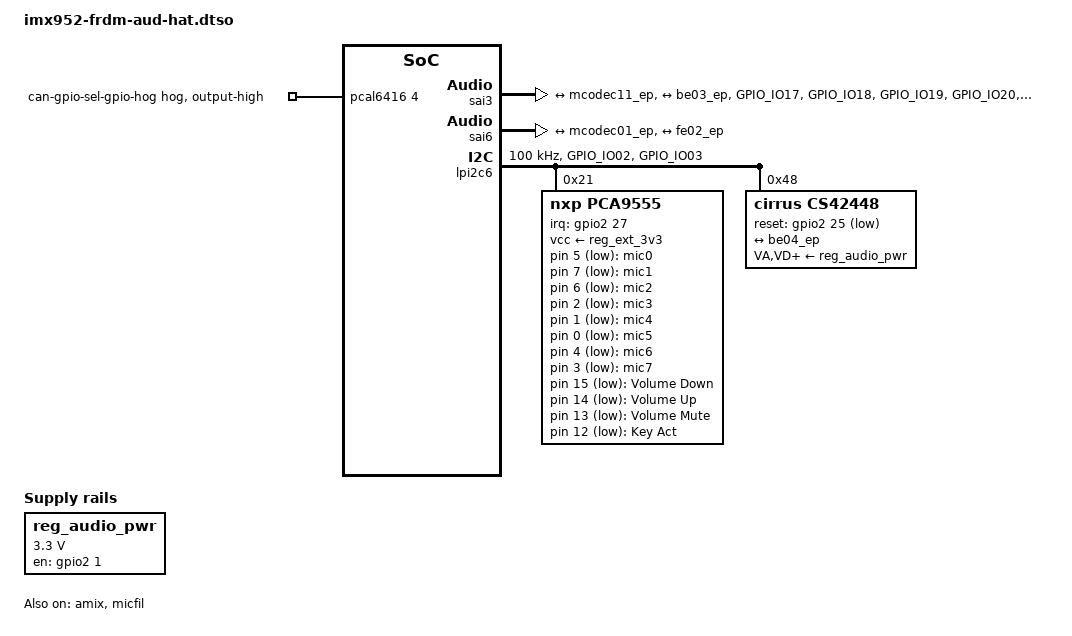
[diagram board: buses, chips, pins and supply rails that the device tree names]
// SPDX-License-Identifier: (GPL-2.0+ OR MIT)
/*
 * Copyright 2026 NXP
 */

/dts-v1/;
/plugin/;

#include <dt-bindings/input/input.h>
#include <dt-bindings/gpio/gpio.h>
#include <dt-bindings/interrupt-controller/irq.h>
#include "imx952-clock.h"
#include "imx952-pinfunc.h"

&{/} {
	sound-mqs {
		status = "disabled";
	};
	mic_leds {
		compatible = "gpio-leds";
		mic0 {
			label = "mic0";
			gpios = <&pca9555 5 GPIO_ACTIVE_LOW>;
			default-state = "off";
		};
		mic1 {
			label = "mic1";
			gpios = <&pca9555 7 GPIO_ACTIVE_LOW>;
			default-state = "off";
		};
		mic2 {
			label = "mic2";
			gpios = <&pca9555 6 GPIO_ACTIVE_LOW>;
			default-state = "off";
		};
		mic3 {
			label = "mic3";
			gpios = <&pca9555 2 GPIO_ACTIVE_LOW>;
			default-state = "off";
		};
		mic4 {
			label = "mic4";
			gpios = <&pca9555 1 GPIO_ACTIVE_LOW>;
			default-state = "off";
		};
		mic5 {
			label = "mic5";
			gpios = <&pca9555 0 GPIO_ACTIVE_LOW>;
			default-state = "off";
		};
		mic6 {
			label = "mic6";
			gpios = <&pca9555 4 GPIO_ACTIVE_LOW>;
			default-state = "off";
		};
		mic7 {
			label = "mic7";
			gpios = <&pca9555 3 GPIO_ACTIVE_LOW>;
			default-state = "off";
		};
	};

	sw_keys {
		compatible = "gpio-keys";

		sw4: volume_down {
			label = "Volume Down";
			gpios = <&pca9555 15 GPIO_ACTIVE_LOW>;
			linux,code = <KEY_VOLUMEDOWN>;
		};

		sw3: volume_up {
			label = "Volume Up";
			gpios = <&pca9555 14 GPIO_ACTIVE_LOW>;
			linux,code = <KEY_VOLUMEUP>;
		};

		sw2: volume_mute {
			label = "Volume Mute";
			gpios = <&pca9555 13 GPIO_ACTIVE_LOW>;
			linux,code = <KEY_MUTE>;
		};

		sw1: key_act {
			label = "Key Act";
			gpios = <&pca9555 12 GPIO_ACTIVE_LOW>;
			linux,code = <KEY_F9>;
		};
	};

	reg_audio_pwr: regulator-audio-pwr {
		compatible = "regulator-fixed";
		pinctrl-names = "default";
		pinctrl-0 = <&pinctrl_audio_pwr>;
		regulator-name = "cs42448-supply";
		regulator-min-microvolt = <3300000>;
		regulator-max-microvolt = <3300000>;
		gpio = <&gpio2 1 GPIO_ACTIVE_HIGH>;
		enable-active-high;
	};

	sound-amix {
		compatible = "audio-graph-card2";
		label = "audmix-cs42448";
		routing = "SAI6 SAI-Playback", "ASRC1 ASRCA-Playback",
			  "SAI3 SAI-Playback", "ASRC2 ASRCA-Playback",
			  "AUDMIX-Playback-0", "SAI6 SAI-Playback",
			  "AUDMIX-Playback-1", "SAI3 SAI-Playback",
			  "Playback", "ASRC1 ASRCA-Playback",
			  "Playback", "ASRC2 ASRCA-Playback",
			  "SAI6 SAI-Capture", "AUDMIX-Capture-0",
			  "SAI3 SAI-Capture", "Capture",
			  "ASRC2 ASRCB-Capture", "SAI3 SAI-Capture";
		links = <&fe00 &fe01 &fe02 &fe03 &be00 &be01 &be02 &be03 &be04>;

		multi {
			#address-cells = <1>;
			#size-cells = <0>;

			ports@0 {
				reg = <0>;
				#address-cells = <1>;
				#size-cells = <0>;
				port@0 {
					reg = <0>;
					mbe0_ep: endpoint {
						remote-endpoint = <&be00_ep>;
					};
				};/* (X) to pair */
				port@1 {
					reg = <1>;
					mcodec01_ep: endpoint {
						remote-endpoint = <&sai6_endpoint0>;
					};
				};/* (A) Multi Element */
				port@2 {
					reg = <2>;
					mcodec02_ep: endpoint {
						remote-endpoint = <&amix_endpoint0>;
					};
				};/* (B) Multi Element */
			};

			ports@1 {
				reg = <1>;
				#address-cells = <1>;
				#size-cells = <0>;
				port@0 {
					reg = <0>;
					mbe1_ep: endpoint {
						remote-endpoint = <&be01_ep>;
					};
				};/* (X) to pair */
				port@1 {
					reg = <1>;
					mcodec11_ep: endpoint {
						remote-endpoint = <&sai3_endpoint0>;
					};
				};/* (A) Multi Element */
				port@2 {
					reg = <2>;
					mcodec12_ep: endpoint {
						remote-endpoint = <&amix_endpoint1>;
					};
				};/* (B) Multi Element */
			};
		};

		dpcm {
			#address-cells = <1>;
			#size-cells = <0>;

			ports@0 {
				reg = <0>;
				#address-cells = <1>;
				#size-cells = <0>;

				fe00: port@0 {
					reg = <0>;
					fe00_ep: endpoint {
						remote-endpoint = <&asrc1_endpoint0>;
					};
				};
				fe01: port@1 {
					reg = <1>;
					fe01_ep: endpoint {
						remote-endpoint = <&asrc2_endpoint0>;
					};
				};
				fe02: port@2 {
					reg = <2>;
					fe02_ep: endpoint {
						remote-endpoint = <&sai6_endpoint1>;
					};
				};
				fe03: port@3 {
					reg = <3>;
					fe03_ep: endpoint {
						remote-endpoint = <&asrc2_endpoint1>;
					};
				};
			};

			ports@1 {
				reg = <1>;
				#address-cells = <1>;
				#size-cells = <0>;
				convert-rate = <48000>;
				convert-sample-format = "s16_le";

				be00: port@0 {
					reg = <0>;
					be00_ep: endpoint {
						remote-endpoint = <&mbe0_ep>;
					};
				};
				be01: port@1 {
					reg = <1>;
					be01_ep: endpoint {
						remote-endpoint = <&mbe1_ep>;
					};
				};
				be02: port@2 {
					reg = <2>;
					be02_ep: endpoint {
						remote-endpoint = <&amix_endpoint2>;
					};
				};
				be03: port@3 {
					reg = <3>;
					be03_ep: endpoint {
						remote-endpoint = <&sai3_endpoint1>;
					};
				};
				be04: port@4 {
					reg = <4>;
					be04_ep: endpoint {
						remote-endpoint = <&codec0_ep>;
					};
				};
			};
		};
	};

	sound-micfil {
		pinctrl-names = "default";
		pinctrl-0 = <&pinctrl_swpdm_mute_irq>;
	};
};

&amix {
	status = "okay";
	ports {
		#address-cells = <1>;
		#size-cells = <0>;

		port@0 {
			reg = <0>;
			playback-only;

			amix_endpoint0: endpoint {
				dai-tdm-slot-num = <8>;
				dai-tdm-slot-width = <32>;
				dai-tdm-slot-width-map = <32 32 8>;
				dai-format = "dsp_a";
				remote-endpoint = <&mcodec02_ep>;
			};
		};

		port@1 {
			reg = <1>;
			playback-only;

			amix_endpoint1: endpoint {
				dai-tdm-slot-num = <8>;
				dai-tdm-slot-width = <32>;
				dai-tdm-slot-width-map = <32 32 8>;
				dai-format = "dsp_a";
				remote-endpoint = <&mcodec12_ep>;
			};
		};

		port@2 {
			reg = <2>;
			capture-only;

			amix_endpoint2: endpoint {
				dai-tdm-slot-num = <8>;
				dai-tdm-slot-width = <32>;
				dai-tdm-slot-width-map = <32 32 8>;
				dai-format = "dsp_a";
				bitclock-master;
				frame-master;
				remote-endpoint = <&be02_ep>;
			};
		};
	};
};

&asrc1 {
	sound-name-prefix = "ASRC1";
	ports {
		#address-cells = <1>;
		#size-cells = <0>;

		port@0 {
			reg = <0>;
			playback-only;
			asrc1_endpoint0: endpoint {
				remote-endpoint = <&fe00_ep>;
			};
		};

		port@1 {
			reg = <1>;
			capture-only;
			asrc1_endpoint1: endpoint {
			};
		};
	};
};

&asrc2 {
	sound-name-prefix = "ASRC2";
	ports {
		#address-cells = <1>;
		#size-cells = <0>;

		port@0 {
			reg = <0>;
			playback-only;
			asrc2_endpoint0: endpoint {
				remote-endpoint = <&fe01_ep>;
			};
		};

		port@1 {
			reg = <1>;
			capture-only;
			asrc2_endpoint1: endpoint {
				remote-endpoint = <&fe03_ep>;
			};
		};
	};
};

&dmic {
	num-channels = <8>;
};

&pcal6416 {
	can-gpio-sel-hog {
		status = "disabled";
	};
	can-gpio-sel-gpio-hog {
		gpios = <4 GPIO_ACTIVE_HIGH>;
		gpio-hog;
		output-high;
	};
};

&sai3 {
	assigned-clocks = <&scmi_clk IMX952_CLK_AUDIOPLL1_VCO>,
			  <&scmi_clk IMX952_CLK_AUDIOPLL2_VCO>,
			  <&scmi_clk IMX952_CLK_AUDIOPLL1>,
			  <&scmi_clk IMX952_CLK_AUDIOPLL2>,
			  <&scmi_clk IMX952_CLK_SAI3>;
	assigned-clock-parents = <0>, <0>, <0>, <0>,
				 <&scmi_clk IMX952_CLK_AUDIOPLL1>;
	assigned-clock-rates = <3932160000>, <3612672000>,
			       <393216000>, <361267200>, <12288000>;
	pinctrl-0 = <&pinctrl_sai3audhat>;
	pinctrl-names = "default";
	fsl,sai-asynchronous;
	fsl,sai-amix-mode = "audmix";
	fsl,sai-mclk-direction-output;
	sound-name-prefix = "SAI3";
	status = "okay";

	ports {
		#address-cells = <1>;
		#size-cells = <0>;

		port@1 {
			reg = <1>;
			playback-only;

			sai3_endpoint0: endpoint {
				dai-tdm-slot-num = <8>;
				dai-tdm-slot-width = <32>;
				dai-tdm-slot-width-map = <32 32 8>;
				dai-format = "dsp_a";
				bitclock-master;
				frame-master;
				remote-endpoint = <&mcodec11_ep>;
			};
		};

		port@2 {
			reg = <2>;
			capture-only;

			sai3_endpoint1: endpoint {
				dai-tdm-slot-num = <8>;
				dai-tdm-slot-width = <32>;
				dai-tdm-slot-width-map = <32 32 8>;
				dai-format = "dsp_a";
				bitclock-master;
				frame-master;
				remote-endpoint = <&be03_ep>;
			};
		};

	};
};

&sai6 {
	assigned-clocks = <&scmi_clk IMX952_CLK_AUDIOPLL1_VCO>,
			  <&scmi_clk IMX952_CLK_AUDIOPLL2_VCO>,
			  <&scmi_clk IMX952_CLK_AUDIOPLL1>,
			  <&scmi_clk IMX952_CLK_AUDIOPLL2>,
			  <&scmi_clk IMX952_CLK_SAI3>;
	assigned-clock-parents = <0>, <0>, <0>, <0>, <&scmi_clk IMX952_CLK_AUDIOPLL1>;
	assigned-clock-rates = <3932160000>, <3612672000>, <393216000>, <361267200>, <12288000>;
	fsl,sai-mclk-direction-output;
	fsl,sai-asynchronous;
	sound-name-prefix = "SAI6";
	status = "okay";

	ports {
		#address-cells = <1>;
		#size-cells = <0>;

		port@1 {
			reg = <1>;
			playback-only;

			sai6_endpoint0: endpoint {
				dai-tdm-slot-num = <8>;
				dai-tdm-slot-width = <32>;
				dai-tdm-slot-width-map = <32 32 8>;
				dai-format = "dsp_a";
				bitclock-master;
				frame-master;
				remote-endpoint = <&mcodec01_ep>;
			};
		};

		port@2 {
			reg = <2>;
			capture-only;

			sai6_endpoint1: endpoint {
				dai-tdm-slot-num = <8>;
				dai-tdm-slot-width = <32>;
				dai-tdm-slot-width-map = <32 32 8>;
				dai-format = "dsp_a";
				remote-endpoint = <&fe02_ep>;
			};
		};
	};
};

&flexcan2 {
	status = "disabled";
};

&tpm3 {
	status = "disabled";
};

&tpm4 {
	status = "disabled";
};

&micfil {
	pinctrl-names = "default";
	pinctrl-0 = <&pinctrl_pdm2>;
	status = "okay";
};

&lpi2c6 {
	#address-cells= <1>;
	#size-cells= <0>;
	clock-frequency = <100000>;
	pinctrl-names = "default";
	pinctrl-0 = <&pinctrl_lpi2c6>;
	status = "okay";

	pca9555: gpio@21 {
		compatible = "nxp,pca9555";
		pinctrl-names = "default";
		pinctrl-0 = <&pinctrl_pushbutton_irq>;
		reg = <0x21>;
		gpio-controller;
		#gpio-cells = <2>;
		interrupt-controller;
		#interrupt-cells = <2>;
		interrupt-parent = <&gpio2>;
		interrupts = <27 IRQ_TYPE_LEVEL_LOW>;
		vcc-supply = <&reg_ext_3v3>;
		status = "okay";
	};

	cs42448: cs42448@48 {
		#sound-dai-cells = <0>;
		compatible = "cirrus,cs42448";
		pinctrl-names = "default";
		pinctrl-0 = <&pinctrl_codec_reset>;
		reg = <0x48>;
		clocks = <&scmi_clk IMX952_CLK_SAI3>;
		clock-names = "mclk";
		VA-supply = <&reg_audio_pwr>;
		VD-supply = <&reg_audio_pwr>;
		VLS-supply = <&reg_audio_pwr>;
		VLC-supply = <&reg_audio_pwr>;
		reset-gpio = <&gpio2 25 GPIO_ACTIVE_LOW>;
		status = "okay";

		port  {
			codec0_ep: endpoint {
				dai-tdm-slot-num = <8>;
				dai-tdm-slot-width = <32>;
				dai-format = "dsp_a";
				remote-endpoint = <&be04_ep>;
			};
		};
	};
};

&scmi_iomuxc {
	pinctrl_swpdm_mute_irq: swpdm_mute_grp {
		fsl,pins = <
			IMX952_PAD_GPIO_IO00__WAKEUPMIX_TOP_GPIO2_IO_0			0x31e
		>;
	};

	pinctrl_pushbutton_irq: pushbutton_grp {
		fsl,pins = <
			IMX952_PAD_GPIO_IO27__WAKEUPMIX_TOP_GPIO2_IO_27			0x31e
		>;
	};

	pinctrl_pdm2: pdm2grp {
		fsl,pins = <
			IMX952_PAD_GPIO_IO04__AONMIX_TOP_PDM_CLK		0x31e
			IMX952_PAD_GPIO_IO05__AONMIX_TOP_PDM_BIT_STREAM_0	0x31e
			IMX952_PAD_GPIO_IO06__AONMIX_TOP_PDM_BIT_STREAM_1	0x31e
			IMX952_PAD_GPIO_IO12__AONMIX_TOP_PDM_BIT_STREAM_2	0x31e
			IMX952_PAD_GPIO_IO13__AONMIX_TOP_PDM_BIT_STREAM_3	0x31e
		>;
	};

	pinctrl_sai3audhat: sai3audhat {
		fsl,pins = <
			IMX952_PAD_GPIO_IO17__WAKEUPMIX_TOP_SAI3_MCLK			0x31e
			IMX952_PAD_GPIO_IO18__WAKEUPMIX_TOP_SAI3_RX_BCLK		0x31e
			IMX952_PAD_GPIO_IO19__WAKEUPMIX_TOP_SAI3_RX_SYNC		0x31e
			IMX952_PAD_GPIO_IO20__WAKEUPMIX_TOP_SAI3_RX_DATA_0		0x31e
			IMX952_PAD_GPIO_IO16__WAKEUPMIX_TOP_AUDMIX_TDM_OUT_TXBCLK	0x4000031e
			IMX952_PAD_GPIO_IO21__WAKEUPMIX_TOP_AUDMIX_TDM_OUT_TXDATA	0x4000031e
			IMX952_PAD_GPIO_IO26__WAKEUPMIX_TOP_AUDMIX_TDM_OUT_TXSYNC	0x4000031e
		>;
	};

	pinctrl_audio_pwr: audiopwrgrp {
		fsl,pins = <
			IMX952_PAD_GPIO_IO01__WAKEUPMIX_TOP_GPIO2_IO_1		0x31e
		>;
	};

	pinctrl_codec_reset: codecresetgrp {
		fsl,pins = <
			IMX952_PAD_GPIO_IO25__WAKEUPMIX_TOP_GPIO2_IO_25		0x31e
		>;
	};

	pinctrl_lpi2c6: lpi2c6grp {
		fsl,pins = <
			IMX952_PAD_GPIO_IO02__WAKEUPMIX_TOP_LPI2C6_SDA			0x40000b9e
			IMX952_PAD_GPIO_IO03__WAKEUPMIX_TOP_LPI2C6_SCL			0x40000b9e
		>;
	};
};

